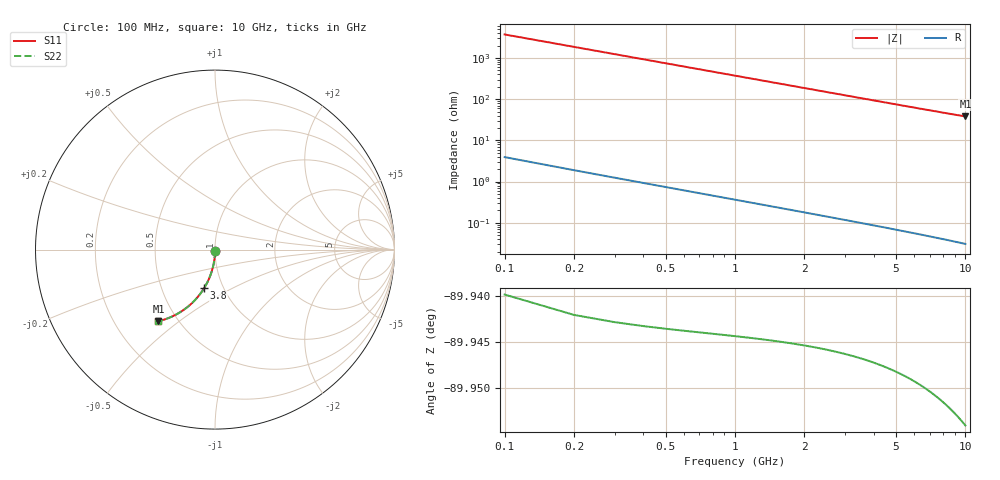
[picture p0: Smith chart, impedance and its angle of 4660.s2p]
# Hz S RI R 50.00
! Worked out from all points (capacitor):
!   100 points, 100 MHz to 10 GHz, reference 50 ohm
!   read as one part in shunt: C = 426 fF near 100 MHz
!   lowest |Z| = 38.1 ohm at 10 GHz (marker M1)
!   S11 on the Smith chart (normalised r, x): 100 MHz: 1.00, -0.01; 3.8 GHz: 0.81, -0.37; 10 GHz: 0.39, -0.42
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1e8  0.000223 -0.00603  0.9997 -0.00735  0.9997 -0.00735  0.000223 -0.00603
2e8  8.56e-05 -0.0121  0.9995 -0.0147  0.9995 -0.0147  8.56e-05 -0.0121
3e8  -0.000141 -0.0181  0.9993 -0.022  0.9993 -0.022  -0.000141 -0.0181
4e8  -0.000456 -0.0241  0.999 -0.0294  0.999 -0.0294  -0.000456 -0.0241
5e8  -0.00086 -0.0301  0.9986 -0.0367  0.9986 -0.0367  -0.00086 -0.0301
6e8  -0.00135 -0.0361  0.9981 -0.044  0.9981 -0.044  -0.00135 -0.0361
7e8  -0.00193 -0.0421  0.9975 -0.0513  0.9975 -0.0513  -0.00193 -0.0421
8e8  -0.0026 -0.0481  0.9968 -0.0586  0.9968 -0.0586  -0.0026 -0.0481
9e8  -0.00336 -0.0541  0.996 -0.0659  0.996 -0.0659  -0.00336 -0.0541
1.1e9  -0.00513 -0.066  0.9942 -0.0804  0.9942 -0.0804  -0.00513 -0.066
1.4e9  -0.00843 -0.0837  0.9908 -0.1021  0.9908 -0.1021  -0.00843 -0.0837
1.8e9  -0.014 -0.107  0.9851 -0.1307  0.9851 -0.1307  -0.014 -0.107
2.1e9  -0.0191 -0.1242  0.98 -0.1518  0.98 -0.1518  -0.0191 -0.1242
2.5e9  -0.0269 -0.1466  0.9719 -0.1795  0.9719 -0.1795  -0.0269 -0.1466
2.9e9  -0.036 -0.1684  0.9627 -0.2065  0.9627 -0.2065  -0.036 -0.1684
3.4e9  -0.049 -0.1946  0.9494 -0.2394  0.9494 -0.2394  -0.049 -0.1946
3.8e9  -0.0606 -0.2147  0.9376 -0.2648  0.9376 -0.2648  -0.0606 -0.2147
4.4e9  -0.0798 -0.2432  0.9179 -0.3012  0.9179 -0.3012  -0.0798 -0.2432
5.1e9  -0.1046 -0.2737  0.8925 -0.3411  0.8925 -0.3411  -0.1046 -0.2737
6.7e9  -0.1689 -0.3317  0.8265 -0.4206  0.8265 -0.4206  -0.1689 -0.3317
8.4e9  -0.2437 -0.3749  0.7493 -0.4869  0.7493 -0.4869  -0.2437 -0.3749
1e10  -0.3155 -0.399  0.6748 -0.5331  0.6748 -0.5331  -0.3155 -0.399
